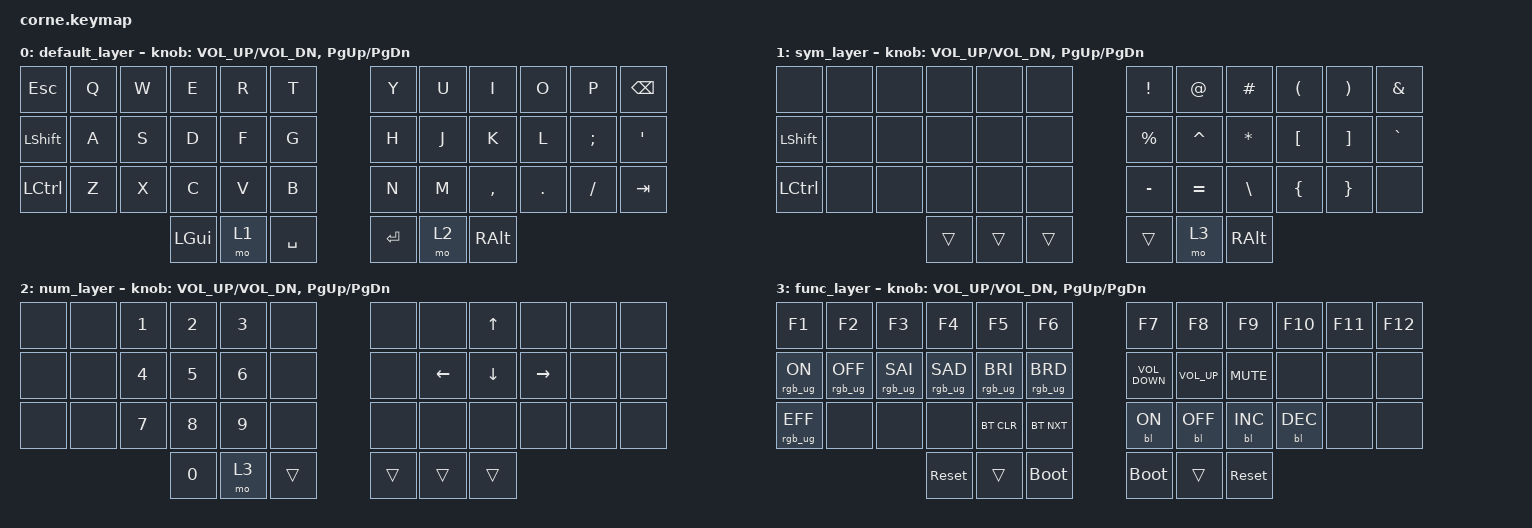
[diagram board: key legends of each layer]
/*
 * Copyright (c) 2020 The ZMK Contributors
 *
 * SPDX-License-Identifier: MIT
 */

#include <behaviors.dtsi>
#include <dt-bindings/zmk/keys.h>
#include <dt-bindings/zmk/bt.h>
#include <dt-bindings/zmk/rgb.h>
#include <dt-bindings/zmk/backlight.h>

/ {
        sensors {
                compatible = "zmk,keymap-sensors";
                sensors = <&left_encoder &right_encoder>;
                triggers-per-rotation = <20>;
        };
};

&led_strip {
        chain-length = <27>;
};

&nice_view_spi {
        cs-gpios = <&pro_micro 8 GPIO_ACTIVE_HIGH>;
};

/ {
        keymap {
                compatible = "zmk,keymap";

                default_layer {
                                // -----------------------------------------------------------------------------------------
                                // |  ESC |  Q  |  W  |  E  |  R  |  T  |   |  Y  |  U   |  I  |  O  |  P  | BKSP |
                                // | LEFT_SHIFT |  A  |  S  |  D  |  F  |  G  |   |  H  |  J   |  K  |  L  |  ;  |  '   |
                                // | LCTTRL |  Z  |  X  |  C  |  V  |  B  |   |  N  |  M   |  ,  |  .  |  /  | BT_NXT  |
                                //                    | GUI | LWR | SPC |   | ENT | RSE  | ALT |
                        bindings = <
                                &kp ESC   &kp Q &kp W &kp E &kp R &kp T   &kp Y &kp U  &kp I     &kp O   &kp P    &kp BSPC
                                &kp LEFT_SHIFT &kp A &kp S &kp D &kp F &kp G   &kp H &kp J  &kp K     &kp L   &kp SEMI &kp SQT
                                &kp LCTRL &kp Z &kp X &kp C &kp V &kp B   &kp N &kp M  &kp COMMA &kp DOT &kp FSLH &kp TAB
                                                &kp LGUI &mo 1 &kp SPACE   &kp RET &mo 2 &kp RALT
                        >;
                sensor-bindings = <
                        &inc_dec_kp C_VOL_UP C_VOL_DN
                        &inc_dec_kp PG_UP PG_DN>;
                };

                sym_layer {
                                // -----------------------------------------------------------------------------------------
                                // |  TAB |  1  |  2  |  3  |  4  |  5  |   |  6  |  7  |  8  |  9  |  0  | BKSP |
                                // | BTCLR| BT1 | BT2 | BT3 | BT4 | BT5 |   | LFT | DWN |  UP | RGT |     |      |
                                // | SHFT |     |     |     |     |     |   |     |     |     |     |     |      |
                                //                    | GUI |     | SPC |   | ENT |     | ALT |
                        bindings = <
                                &none  &none  &none  &none   &none   &none     &kp EXCL     &kp AT     &kp HASH       &kp LPAR  &kp RPAR  &kp AMPERSAND
                                &kp LEFT_SHIFT  &none  &none  &none   &none   &none     &kp PERCENT  &kp CARET  &kp ASTERISK   &kp LBKT  &kp RBKT  &kp GRAVE
                                &kp LCTRL  &none  &none  &none   &none   &none     &kp MINUS    &kp EQUAL  &kp BACKSLASH  &kp LBRC  &kp RBRC  &none
                                                     &trans  &trans  &trans    &trans       &mo 3      &kp RALT
                        >;
                        sensor-bindings = <
                                &inc_dec_kp C_VOL_UP C_VOL_DN 
                                &inc_dec_kp PG_UP PG_DN
                        >;
                };

                num_layer {
                                // -----------------------------------------------------------------------------------------
                                // |  TAB |  !  |  @  |  #  |  $  |  %  |   |  ^  |  &  |  *  |  (  |  )  | BKSP |
                                // | CTRL |     |     |     |     |     |   |  -  |  =  |  [  |  ]  |  \  |  `   |
                                // | SHFT |     |     |     |     |     |   |  _  |  +  |  {  |  }  | "|" |  ~   |
                                //                    | GUI |     | SPC |   | ENT |     | ALT |
                        bindings = <
                                &none  &none  &kp N1  &kp N2  &kp N3  &none     &none   &none     &kp UP_ARROW  &none      &none  &none
                                &none  &none  &kp N4  &kp N5  &kp N6  &none     &none   &kp LEFT  &kp DOWN      &kp RIGHT  &none  &none
                                &none  &none  &kp N7  &kp N8  &kp N9  &none     &none   &none     &none         &none      &none  &none
                                                      &kp N0  &mo 3   &trans    &trans  &trans    &trans
                        >;
                        sensor-bindings = <
                                &inc_dec_kp C_VOL_UP C_VOL_DN 
                                &inc_dec_kp PG_UP PG_DN
                        >;
                };

                func_layer {
                                // -----------------------------------------------------------------------------------------
                                // |  TAB |  !  |  @  |  #  |  $  |  %  |   |  ^  |  &  |  *  |  (  |  )  | BKSP |
                                // | CTRL |     |     |     |     |     |   |  -  |  =  |  [  |  ]  |  \  |  `   |
                                // | SHFT |     |     |     |     |     |   |  _  |  +  |  {  |  }  | "|" |  ~   |
                                //                    | GUI |     | SPC |   | ENT |     | ALT |
                        bindings = <
                                &kp F1           &kp F2           &kp F3           &kp F4           &kp F5           &kp F6             &kp F7             &kp F8           &kp F9      &kp F10     &kp F11  &kp F12
                                &rgb_ug RGB_ON   &rgb_ug RGB_OFF  &rgb_ug RGB_SAI  &rgb_ug RGB_SAD  &rgb_ug RGB_BRI  &rgb_ug RGB_BRD    &kp C_VOLUME_DOWN  &kp C_VOLUME_UP  &kp K_MUTE  &none       &none    &none
                                &rgb_ug RGB_EFF  &none            &none            &none            &bt BT_CLR        &bt BT_NXT         &bl BL_ON          &bl BL_OFF       &bl BL_INC  &bl BL_DEC  &none    &none
                                                                                   &sys_reset       &trans           &bootloader        &bootloader        &trans           &sys_reset
                        >;
                        sensor-bindings = <
                                &inc_dec_kp C_VOL_UP C_VOL_DN 
                                &inc_dec_kp PG_UP PG_DN
                        >;
                };

        };
};
